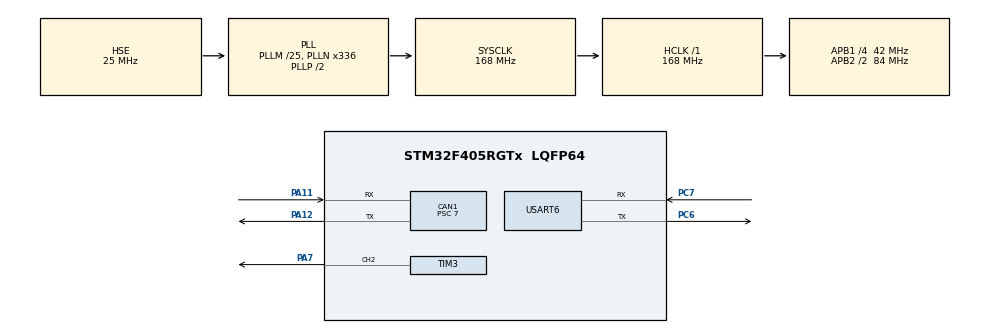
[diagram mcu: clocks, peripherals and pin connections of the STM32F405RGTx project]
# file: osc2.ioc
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CAN1.BS1=CAN_BS1_2TQ
CAN1.BS2=CAN_BS2_3TQ
CAN1.CalculateBaudRate=999999
CAN1.CalculateTimeBit=1000
CAN1.CalculateTimeQuantum=166.66666666666669
CAN1.Prescaler=7
FREERTOS.Tasks01=defaultTask,24,128,StartDefaultTask,Default,NULL,Dynamic,NULL,NULL;CAN01,8,128,CAN001,Default,NULL,Dynamic,NULL,NULL;USART02,8,128,USART002,Default,NULL,Dynamic,NULL,NULL;PWM03,8,128,PWM003,Default,NULL,Dynamic,NULL,NULL
Mcu.Family=STM32F4
Mcu.Name=STM32F405RGTx
Mcu.Package=LQFP64
NVIC.PriorityGroup=NVIC_PRIORITYGROUP_4
NVIC.TIM2_IRQn=true\:1\:0\:true\:false\:true\:false\:false\:true\:true
NVIC.TimeBase=TIM2_IRQn
NVIC.TimeBaseIP=TIM2
PA11.Mode=CAN_Activate
PA11.Signal=CAN1_RX
PA12.Mode=CAN_Activate
PA12.Signal=CAN1_TX
PA13.Mode=Serial_Wire
PA13.Signal=SYS_JTMS-SWDIO
PA14.Mode=Serial_Wire
PA14.Signal=SYS_JTCK-SWCLK
PA7.Signal=S_TIM3_CH2
PC14-OSC32_IN.Mode=LSE-External-Oscillator
PC14-OSC32_IN.Signal=RCC_OSC32_IN
PC15-OSC32_OUT.Mode=LSE-External-Oscillator
PC15-OSC32_OUT.Signal=RCC_OSC32_OUT
PC6.Mode=Asynchronous
PC6.Signal=USART6_TX
PC7.Mode=Asynchronous
PC7.Signal=USART6_RX
PH0-OSC_IN.Mode=HSE-External-Oscillator
PH0-OSC_IN.Signal=RCC_OSC_IN
PH1-OSC_OUT.Mode=HSE-External-Oscillator
PH1-OSC_OUT.Signal=RCC_OSC_OUT
ProjectManager.HeapSize=0x200
ProjectManager.StackSize=0x400
ProjectManager.TargetToolchain=MDK-ARM V5.32
RCC.48MHZClocksFreq_Value=84000000
RCC.AHBFreq_Value=168000000
RCC.APB1CLKDivider=RCC_HCLK_DIV4
RCC.APB1Freq_Value=42000000
RCC.APB1TimFreq_Value=84000000
RCC.APB2CLKDivider=RCC_HCLK_DIV2
RCC.APB2Freq_Value=84000000
RCC.APB2TimFreq_Value=168000000
RCC.CortexFreq_Value=168000000
RCC.HCLKFreq_Value=168000000
RCC.HSE_VALUE=25000000
RCC.HSI_VALUE=16000000
RCC.PLLM=25
RCC.PLLN=336
RCC.PLLSourceVirtual=RCC_PLLSOURCE_HSE
RCC.SYSCLKFreq_VALUE=168000000
RCC.SYSCLKSource=RCC_SYSCLKSOURCE_PLLCLK
RCC.VCOOutputFreq_Value=336000000
SH.S_TIM3_CH2.0=TIM3_CH2,PWM Generation2 CH2
TIM3.Channel-PWM\ Generation2\ CH2=TIM_CHANNEL_2
TIM3.Period=100-1
TIM3.Prescaler=720-1
USART6.VirtualMode=VM_ASYNC
VP_FREERTOS_VS_CMSIS_V2.Mode=CMSIS_V2
VP_SYS_VS_tim2.Mode=TIM2
VP_TIM3_VS_ClockSourceINT.Mode=Internal
board=custom

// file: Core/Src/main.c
/* USER CODE BEGIN Header */
/**
  ******************************************************************************
  * @file           : main.c
  * @brief          : Main program body
  ******************************************************************************
  * @attention
  *
  * Copyright (c) 2024 STMicroelectronics.
  * All rights reserved.
  *
  * This software is licensed under terms that can be found in the LICENSE file
  * in the root directory of this software component.
  * If no LICENSE file comes with this software, it is provided AS-IS.
  *
  ******************************************************************************
  */
/* USER CODE END Header */
#include "main.h"
#include "cmsis_os.h"
#include "can.h"
#include "tim.h"
#include "usart.h"
#include "gpio.h"

void SystemClock_Config(void);
void MX_FREERTOS_Init(void);

int main(void)
{

  /* MCU Configuration--------------------------------------------------------*/

  /* Reset of all peripherals, Initializes the Flash interface and the Systick. */
  HAL_Init();

  /* Configure the system clock */
  SystemClock_Config();

  /* Initialize all configured peripherals */
  MX_GPIO_Init();
  MX_CAN1_Init();
  MX_TIM3_Init();
  MX_USART6_UART_Init();

  /* Init scheduler */
  osKernelInitialize();

  /* Call init function for freertos objects (in cmsis_os2.c) */
  MX_FREERTOS_Init();

  /* Start scheduler */
  osKernelStart();

  /* We should never get here as control is now taken by the scheduler */

  /* Infinite loop */
  while (1)
  {

  }
}

void SystemClock_Config(void)
{
  RCC_OscInitTypeDef RCC_OscInitStruct = {0};
  RCC_ClkInitTypeDef RCC_ClkInitStruct = {0};

  /** Configure the main internal regulator output voltage
  */
  __HAL_RCC_PWR_CLK_ENABLE();
  __HAL_PWR_VOLTAGESCALING_CONFIG(PWR_REGULATOR_VOLTAGE_SCALE1);

  /** Initializes the RCC Oscillators according to the specified parameters
  * in the RCC_OscInitTypeDef structure.
  */
  RCC_OscInitStruct.OscillatorType = RCC_OSCILLATORTYPE_HSE;
  RCC_OscInitStruct.HSEState = RCC_HSE_ON;
  RCC_OscInitStruct.PLL.PLLState = RCC_PLL_ON;
  RCC_OscInitStruct.PLL.PLLSource = RCC_PLLSOURCE_HSE;
  RCC_OscInitStruct.PLL.PLLM = 25;
  RCC_OscInitStruct.PLL.PLLN = 336;
  RCC_OscInitStruct.PLL.PLLP = RCC_PLLP_DIV2;
  RCC_OscInitStruct.PLL.PLLQ = 4;
  if (HAL_RCC_OscConfig(&RCC_OscInitStruct) != HAL_OK)
  {
    Error_Handler();
  }

  /** Initializes the CPU, AHB and APB buses clocks
  */
  RCC_ClkInitStruct.ClockType = RCC_CLOCKTYPE_HCLK|RCC_CLOCKTYPE_SYSCLK
                              |RCC_CLOCKTYPE_PCLK1|RCC_CLOCKTYPE_PCLK2;
  RCC_ClkInitStruct.SYSCLKSource = RCC_SYSCLKSOURCE_PLLCLK;
  RCC_ClkInitStruct.AHBCLKDivider = RCC_SYSCLK_DIV1;
  RCC_ClkInitStruct.APB1CLKDivider = RCC_HCLK_DIV4;
  RCC_ClkInitStruct.APB2CLKDivider = RCC_HCLK_DIV2;

  if (HAL_RCC_ClockConfig(&RCC_ClkInitStruct, FLASH_LATENCY_5) != HAL_OK)
  {
    Error_Handler();
  }
}

void HAL_TIM_PeriodElapsedCallback(TIM_HandleTypeDef *htim)
{
  if (htim->Instance == TIM2) {
    HAL_IncTick();
  }
}

void Error_Handler(void)
{
  __disable_irq();
  while (1)
  {
  }
}

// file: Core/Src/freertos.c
/* USER CODE BEGIN Header */
/**
  ******************************************************************************
  * File Name          : freertos.c
  * Description        : Code for freertos applications
  ******************************************************************************
  * @attention
  *
  * Copyright (c) 2024 STMicroelectronics.
  * All rights reserved.
  *
  * This software is licensed under terms that can be found in the LICENSE file
  * in the root directory of this software component.
  * If no LICENSE file comes with this software, it is provided AS-IS.
  *
  ******************************************************************************
  */
/* USER CODE END Header */

#include "FreeRTOS.h"
#include "task.h"
#include "main.h"
#include "cmsis_os.h"

/* USER CODE BEGIN Includes */
#include "can.h"
#include <stdio.h>
#include "usart.h"
#include "tim.h"

/* USER CODE END Includes */

/* Definitions for defaultTask */
osThreadId_t defaultTaskHandle;
const osThreadAttr_t defaultTask_attributes = {
  .name = "defaultTask",
  .stack_size = 128 * 4,
  .priority = (osPriority_t) osPriorityNormal,
};
/* Definitions for CAN01 */
osThreadId_t CAN01Handle;
const osThreadAttr_t CAN01_attributes = {
  .name = "CAN01",
  .stack_size = 128 * 4,
  .priority = (osPriority_t) osPriorityLow,
};
/* Definitions for USART02 */
osThreadId_t USART02Handle;
const osThreadAttr_t USART02_attributes = {
  .name = "USART02",
  .stack_size = 128 * 4,
  .priority = (osPriority_t) osPriorityLow,
};
/* Definitions for PWM03 */
osThreadId_t PWM03Handle;
const osThreadAttr_t PWM03_attributes = {
  .name = "PWM03",
  .stack_size = 128 * 4,
  .priority = (osPriority_t) osPriorityLow,
};

void StartDefaultTask(void *argument);
void CAN001(void *argument);
void USART002(void *argument);
void PWM003(void *argument);

void MX_FREERTOS_Init(void); /* (MISRA C 2004 rule 8.1) */

void MX_FREERTOS_Init(void) {

  /* Create the thread(s) */
  /* creation of defaultTask */
  defaultTaskHandle = osThreadNew(StartDefaultTask, NULL, &defaultTask_attributes);

  /* creation of CAN01 */
  CAN01Handle = osThreadNew(CAN001, NULL, &CAN01_attributes);

  /* creation of USART02 */
  USART02Handle = osThreadNew(USART002, NULL, &USART02_attributes);

  /* creation of PWM03 */
  PWM03Handle = osThreadNew(PWM003, NULL, &PWM03_attributes);

}

void StartDefaultTask(void *argument)
{
  /* USER CODE BEGIN StartDefaultTask */
  /* Infinite loop */
  for(;;)
  {
    vTaskDelete(NULL);
  }
  /* USER CODE END StartDefaultTask */
}

void CAN001(void *argument)
{
  /* USER CODE BEGIN CAN001 */
  /* Infinite loop */
  for(;;)
  {
    CAN_Transmit(25000);
    vTaskDelay(1);
  }
  /* USER CODE END CAN001 */
}

void USART002(void *argument)
{
  /* USER CODE BEGIN USART002 */
  /* Infinite loop */
  for(;;)
  {
    printf("LMY\n");
    vTaskDelay(1);
  }
  /* USER CODE END USART002 */
}

void PWM003(void *argument)
{
  /* USER CODE BEGIN PWM003 */
  /* Infinite loop */
  for(;;)
  {
      for(int i = 0;i < 100;i++)
    {
        __HAL_TIM_SET_COMPARE(&htim3,TIM_CHANNEL_2,i);
        vTaskDelay(10);
    }
    for(int i = 0;i < 100;i++)
    {
        __HAL_TIM_SET_COMPARE(&htim3,TIM_CHANNEL_2,100-i);
        vTaskDelay(10);
    }
    vTaskDelay(1);
  }
  /* USER CODE END PWM003 */
}
